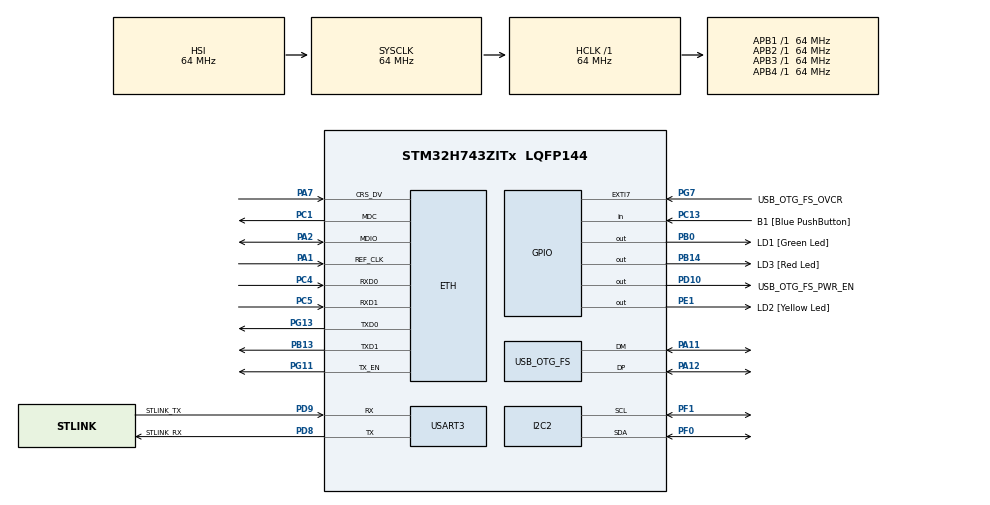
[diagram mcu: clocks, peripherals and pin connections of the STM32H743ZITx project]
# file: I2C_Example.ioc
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ETH.MediaInterface=HAL_ETH_RMII_MODE
Mcu.Family=STM32H7
Mcu.Name=STM32H743ZITx
Mcu.Package=LQFP144
NVIC.PriorityGroup=NVIC_PRIORITYGROUP_4
PA1.Mode=RMII
PA1.Signal=ETH_REF_CLK
PA11.Mode=Device_Only
PA11.Signal=USB_OTG_FS_DM
PA12.Mode=Device_Only
PA12.Signal=USB_OTG_FS_DP
PA2.Mode=RMII
PA2.Signal=ETH_MDIO
PA7.Mode=RMII
PA7.Signal=ETH_CRS_DV
PA8.Signal=USB_OTG_FS_SOF
PA9.Signal=USB_OTG_FS_VBUS
PB0.GPIO_Label=LD1 [Green Led]
PB0.Signal=GPIO_Output
PB13.Mode=RMII
PB13.Signal=ETH_TXD1
PB14.GPIO_Label=LD3 [Red Led]
PB14.Signal=GPIO_Output
PC1.Mode=RMII
PC1.Signal=ETH_MDC
PC13.GPIO_Label=B1 [Blue PushButton]
PC13.Signal=GPIO_Input
PC14-OSC32_IN\ (OSC32_IN).Mode=LSE-External-Oscillator
PC14-OSC32_IN\ (OSC32_IN).Signal=RCC_OSC32_IN
PC15-OSC32_OUT\ (OSC32_OUT).Mode=LSE-External-Oscillator
PC15-OSC32_OUT\ (OSC32_OUT).Signal=RCC_OSC32_OUT
PC4.Mode=RMII
PC4.Signal=ETH_RXD0
PC5.Mode=RMII
PC5.Signal=ETH_RXD1
PD10.GPIO_Label=USB_OTG_FS_PWR_EN
PD10.Signal=GPIO_Output
PD8.GPIO_Label=STLINK_RX
PD8.Mode=Asynchronous
PD8.Signal=USART3_TX
PD9.GPIO_Label=STLINK_TX
PD9.Mode=Asynchronous
PD9.Signal=USART3_RX
PE1.GPIO_Label=LD2 [Yellow Led]
PE1.Signal=GPIO_Output
PF0.Mode=I2C
PF0.Signal=I2C2_SDA
PF1.Mode=I2C
PF1.Signal=I2C2_SCL
PG11.Mode=RMII
PG11.Signal=ETH_TX_EN
PG13.Mode=RMII
PG13.Signal=ETH_TXD0
PG7.GPIO_Label=USB_OTG_FS_OVCR
PG7.Signal=GPXTI7
PH0-OSC_IN\ (PH0).Mode=HSE-External-Clock-Source
PH0-OSC_IN\ (PH0).Signal=RCC_OSC_IN
PH1-OSC_OUT\ (PH1).Signal=RCC_OSC_OUT
ProjectManager.HeapSize=0x200
ProjectManager.StackSize=0x400
ProjectManager.TargetToolchain=STM32CubeIDE
RCC.ADCFreq_Value=16125000
RCC.APB1Freq_Value=64000000
RCC.APB2Freq_Value=64000000
RCC.APB3Freq_Value=64000000
RCC.APB4Freq_Value=64000000
RCC.CortexFreq_Value=64000000
RCC.DIVM1=1
RCC.DIVN1=24
RCC.DIVQ1=4
RCC.HCLKFreq_Value=64000000
RCC.HSE_VALUE=8000000
RCC.PLLFRACN=0
RCC.PLLSourceVirtual=RCC_PLLSOURCE_HSE
RCC.PWR_Regulator_Voltage_Scale=PWR_REGULATOR_VOLTAGE_SCALE2
RCC.SYSCLKFreq_VALUE=64000000
RCC.USBFreq_Value=48000000
USART3.VirtualMode-Asynchronous=VM_ASYNC
USB_OTG_FS.VirtualMode=Device_Only
board=NUCLEO-H743ZI2

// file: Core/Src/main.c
/* USER CODE BEGIN Header */
/**
  ******************************************************************************
  * @file           : main.c
  * @brief          : I2C Demo: Communicate with Yong Da's DS1307 RTC
  * @details		: Useful resources: https://forum.digikey.com/t/using-the-stm32cube-hal-i2c-driver-in-master-mode/15122
  * and https://datasheets.maximintegrated.com/en/ds/DS1307.pdf https://www.digikey.ca/en/maker/projects/getting-started-with-stm32-i2c-example/ba8c2bfef2024654b5dd10012425fa23
  ******************************************************************************
  * @attention
  *
  * <h2><center>&copy; Copyright (c) 2021 STMicroelectronics.
  * All rights reserved.</center></h2>
  *
  * This software component is licensed by ST under BSD 3-Clause license,
  * the "License"; You may not use this file except in compliance with the
  * License. You may obtain a copy of the License at:
  *                        opensource.org/licenses/BSD-3-Clause
  *
  ******************************************************************************
  */
/* USER CODE END Header */
#include "main.h"
#include "string.h"

/* USER CODE BEGIN Includes */
#include <stdio.h>
/* USER CODE END Includes */

#if defined ( __ICCARM__ ) /*!< IAR Compiler */

#pragma location=0x30040000
ETH_DMADescTypeDef  DMARxDscrTab[ETH_RX_DESC_CNT]; /* Ethernet Rx DMA Descriptors */
#pragma location=0x30040060
ETH_DMADescTypeDef  DMATxDscrTab[ETH_TX_DESC_CNT]; /* Ethernet Tx DMA Descriptors */
#pragma location=0x30040200
uint8_t Rx_Buff[ETH_RX_DESC_CNT][ETH_MAX_PACKET_SIZE]; /* Ethernet Receive Buffers */

#elif defined ( __CC_ARM )  /* MDK ARM Compiler */

__attribute__((at(0x30040000))) ETH_DMADescTypeDef  DMARxDscrTab[ETH_RX_DESC_CNT]; /* Ethernet Rx DMA Descriptors */
__attribute__((at(0x30040060))) ETH_DMADescTypeDef  DMATxDscrTab[ETH_TX_DESC_CNT]; /* Ethernet Tx DMA Descriptors */
__attribute__((at(0x30040200))) uint8_t Rx_Buff[ETH_RX_DESC_CNT][ETH_MAX_PACKET_SIZE]; /* Ethernet Receive Buffer */

#elif defined ( __GNUC__ ) /* GNU Compiler */

ETH_DMADescTypeDef DMARxDscrTab[ETH_RX_DESC_CNT] __attribute__((section(".RxDecripSection"))); /* Ethernet Rx DMA Descriptors */
ETH_DMADescTypeDef DMATxDscrTab[ETH_TX_DESC_CNT] __attribute__((section(".TxDecripSection")));   /* Ethernet Tx DMA Descriptors */
uint8_t Rx_Buff[ETH_RX_DESC_CNT][ETH_MAX_PACKET_SIZE] __attribute__((section(".RxArraySection"))); /* Ethernet Receive Buffers */

#endif

ETH_TxPacketConfig TxConfig;

ETH_HandleTypeDef heth;

I2C_HandleTypeDef hi2c2;

UART_HandleTypeDef huart3;

PCD_HandleTypeDef hpcd_USB_OTG_FS;

/* USER CODE BEGIN PV */
static const uint8_t DS1307_ADDR = 0x68 << 1; // Use 7-bit address and 1 bit direction
static const uint8_t REG_SEC = 0x00;	//8-bit register addresses
/* USER CODE END PV */

void SystemClock_Config(void);
static void MX_GPIO_Init(void);
static void MX_ETH_Init(void);
static void MX_USART3_UART_Init(void);
static void MX_USB_OTG_FS_PCD_Init(void);
static void MX_I2C2_Init(void);
/* USER CODE BEGIN PFP */
#ifdef __GNUC__
/* With GCC, small printf (option LD Linker->Libraries->Small printf
   set to 'Yes') calls __io_putchar() */
#define PUTCHAR_PROTOTYPE int __io_putchar(int ch)
#define GETCHAR_PROTOTYPE int __io_getchar()
#else
#define PUTCHAR_PROTOTYPE int fputc(int ch, FILE *f)
#endif /* __GNUC__ */
/* USER CODE END PFP */

/* USER CODE BEGIN 0 */
int BcdToInt(uint8_t num){
	return (num >> 4) * 10 + (num & 15);
}
/* USER CODE END 0 */

int main(void)
{
  /* USER CODE BEGIN 1 */
	HAL_StatusTypeDef ret;
	uint8_t buf[9];
	char day[10];
  /* USER CODE END 1 */

  /* MCU Configuration--------------------------------------------------------*/

  /* Reset of all peripherals, Initializes the Flash interface and the Systick. */
  HAL_Init();

  /* Configure the system clock */
  SystemClock_Config();

  /* Initialize all configured peripherals */
  MX_GPIO_Init();
  MX_ETH_Init();
  MX_USART3_UART_Init();
  MX_USB_OTG_FS_PCD_Init();
  MX_I2C2_Init();

  /* Infinite loop */
  /* USER CODE BEGIN WHILE */

  // First, we need to initialize the time registers to a time
  // The DS1307 uses BCD format
  buf[0] = 0x00; // seconds register
  buf[1] = 0x00; // 0 seconds and turn on oscillator (set CH bit to 0)
  buf[2] = 0x00; // 0 minutes
  buf[3] = 0x00; // 0 minutes and 24h format
  buf[4] = 0x02; // Monday
  buf[5] = 0x25; // 25th
  buf[6] = 0x10; // October
  buf[7] = 0x21; // 2021
  buf[8] = 0x00; // don't need square wave output

  // Reset reg pointer to seconds register and send initial values
  ret = HAL_I2C_Master_Transmit(&hi2c2, DS1307_ADDR, buf, 9, HAL_MAX_DELAY);
  if ( ret != HAL_OK ) {
	  printf("Error Tx\r\n");
  }

  while (1)
  {
	  // Reset reg pointer to seconds register
	  ret = HAL_I2C_Master_Transmit(&hi2c2, DS1307_ADDR, (uint8_t *const)&REG_SEC, 1, HAL_MAX_DELAY);
	  if ( ret != HAL_OK ) {
		  printf("Error Tx\r\n");
	  } else {
		  // After all our hard work initializing the registers, read the date and time
		  ret = HAL_I2C_Master_Receive(&hi2c2, DS1307_ADDR, buf, 8, HAL_MAX_DELAY);
		  if ( ret != HAL_OK ) {
		  		  printf("Error Tx\r\n");
		  } else {
			  switch(buf[3]){
			  case 1:
				  strcpy(day, "Sunday");
			  	  break;
			  case 2:
				  strcpy(day, "Monday");
				  break;
			  case 3:
				  strcpy(day, "Tuesday");
			  	  break;
			  case 4:
				  strcpy(day, "Wednesday");
				  break;
			  case 5:
				  strcpy(day, "Thursday");
				  break;
			  case 6:
				  strcpy(day, "Friday");
				  break;
			  case 7:
				  strcpy(day, "Saturday");
				  break;
			  default:
				  strcpy(day, "Error");
				  break;
			  }

			  printf("%s, %d/%d/%d", day, BcdToInt(buf[4]), BcdToInt(buf[5]), BcdToInt(buf[6]));
			  printf(" %d:%d:%d\r\n", BcdToInt(buf[2]), BcdToInt(buf[1]), BcdToInt(buf[0] & 0x7f));
		  }
	  }
	// Wait
	HAL_Delay(1000);
  }
    /* USER CODE END WHILE */

}

void SystemClock_Config(void)
{
  RCC_OscInitTypeDef RCC_OscInitStruct = {0};
  RCC_ClkInitTypeDef RCC_ClkInitStruct = {0};

  /** Supply configuration update enable
  */
  HAL_PWREx_ConfigSupply(PWR_LDO_SUPPLY);
  /** Configure the main internal regulator output voltage
  */
  __HAL_PWR_VOLTAGESCALING_CONFIG(PWR_REGULATOR_VOLTAGE_SCALE2);

  while(!__HAL_PWR_GET_FLAG(PWR_FLAG_VOSRDY)) {}
  /** Initializes the RCC Oscillators according to the specified parameters
  * in the RCC_OscInitTypeDef structure.
  */
  RCC_OscInitStruct.OscillatorType = RCC_OSCILLATORTYPE_HSI|RCC_OSCILLATORTYPE_HSE;
  RCC_OscInitStruct.HSEState = RCC_HSE_BYPASS;
  RCC_OscInitStruct.HSIState = RCC_HSI_DIV1;
  RCC_OscInitStruct.HSICalibrationValue = RCC_HSICALIBRATION_DEFAULT;
  RCC_OscInitStruct.PLL.PLLState = RCC_PLL_ON;
  RCC_OscInitStruct.PLL.PLLSource = RCC_PLLSOURCE_HSE;
  RCC_OscInitStruct.PLL.PLLM = 1;
  RCC_OscInitStruct.PLL.PLLN = 24;
  RCC_OscInitStruct.PLL.PLLP = 2;
  RCC_OscInitStruct.PLL.PLLQ = 4;
  RCC_OscInitStruct.PLL.PLLR = 2;
  RCC_OscInitStruct.PLL.PLLRGE = RCC_PLL1VCIRANGE_3;
  RCC_OscInitStruct.PLL.PLLVCOSEL = RCC_PLL1VCOWIDE;
  RCC_OscInitStruct.PLL.PLLFRACN = 0;
  if (HAL_RCC_OscConfig(&RCC_OscInitStruct) != HAL_OK)
  {
    Error_Handler();
  }
  /** Initializes the CPU, AHB and APB buses clocks
  */
  RCC_ClkInitStruct.ClockType = RCC_CLOCKTYPE_HCLK|RCC_CLOCKTYPE_SYSCLK
                              |RCC_CLOCKTYPE_PCLK1|RCC_CLOCKTYPE_PCLK2
                              |RCC_CLOCKTYPE_D3PCLK1|RCC_CLOCKTYPE_D1PCLK1;
  RCC_ClkInitStruct.SYSCLKSource = RCC_SYSCLKSOURCE_HSI;
  RCC_ClkInitStruct.SYSCLKDivider = RCC_SYSCLK_DIV1;
  RCC_ClkInitStruct.AHBCLKDivider = RCC_HCLK_DIV1;
  RCC_ClkInitStruct.APB3CLKDivider = RCC_APB3_DIV1;
  RCC_ClkInitStruct.APB1CLKDivider = RCC_APB1_DIV1;
  RCC_ClkInitStruct.APB2CLKDivider = RCC_APB2_DIV1;
  RCC_ClkInitStruct.APB4CLKDivider = RCC_APB4_DIV1;

  if (HAL_RCC_ClockConfig(&RCC_ClkInitStruct, FLASH_LATENCY_1) != HAL_OK)
  {
    Error_Handler();
  }
}

static void MX_ETH_Init(void)
{

   static uint8_t MACAddr[6];

  heth.Instance = ETH;
  MACAddr[0] = 0x00;
  MACAddr[1] = 0x80;
  MACAddr[2] = 0xE1;
  MACAddr[3] = 0x00;
  MACAddr[4] = 0x00;
  MACAddr[5] = 0x00;
  heth.Init.MACAddr = &MACAddr[0];
  heth.Init.MediaInterface = HAL_ETH_RMII_MODE;
  heth.Init.TxDesc = DMATxDscrTab;
  heth.Init.RxDesc = DMARxDscrTab;
  heth.Init.RxBuffLen = 1524;

  if (HAL_ETH_Init(&heth) != HAL_OK)
  {
    Error_Handler();
  }

  memset(&TxConfig, 0 , sizeof(ETH_TxPacketConfig));
  TxConfig.Attributes = ETH_TX_PACKETS_FEATURES_CSUM | ETH_TX_PACKETS_FEATURES_CRCPAD;
  TxConfig.ChecksumCtrl = ETH_CHECKSUM_IPHDR_PAYLOAD_INSERT_PHDR_CALC;
  TxConfig.CRCPadCtrl = ETH_CRC_PAD_INSERT;

}

static void MX_I2C2_Init(void)
{

  hi2c2.Instance = I2C2;
  hi2c2.Init.Timing = 0x10707DBC;
  hi2c2.Init.OwnAddress1 = 0;
  hi2c2.Init.AddressingMode = I2C_ADDRESSINGMODE_7BIT;
  hi2c2.Init.DualAddressMode = I2C_DUALADDRESS_DISABLE;
  hi2c2.Init.OwnAddress2 = 0;
  hi2c2.Init.OwnAddress2Masks = I2C_OA2_NOMASK;
  hi2c2.Init.GeneralCallMode = I2C_GENERALCALL_DISABLE;
  hi2c2.Init.NoStretchMode = I2C_NOSTRETCH_DISABLE;
  if (HAL_I2C_Init(&hi2c2) != HAL_OK)
  {
    Error_Handler();
  }
  /** Configure Analogue filter
  */
  if (HAL_I2CEx_ConfigAnalogFilter(&hi2c2, I2C_ANALOGFILTER_ENABLE) != HAL_OK)
  {
    Error_Handler();
  }
  /** Configure Digital filter
  */
  if (HAL_I2CEx_ConfigDigitalFilter(&hi2c2, 0) != HAL_OK)
  {
    Error_Handler();
  }

}

static void MX_USART3_UART_Init(void)
{

  huart3.Instance = USART3;
  huart3.Init.BaudRate = 115200;
  huart3.Init.WordLength = UART_WORDLENGTH_8B;
  huart3.Init.StopBits = UART_STOPBITS_1;
  huart3.Init.Parity = UART_PARITY_NONE;
  huart3.Init.Mode = UART_MODE_TX_RX;
  huart3.Init.HwFlowCtl = UART_HWCONTROL_NONE;
  huart3.Init.OverSampling = UART_OVERSAMPLING_16;
  huart3.Init.OneBitSampling = UART_ONE_BIT_SAMPLE_DISABLE;
  huart3.Init.ClockPrescaler = UART_PRESCALER_DIV1;
  huart3.AdvancedInit.AdvFeatureInit = UART_ADVFEATURE_NO_INIT;
  if (HAL_UART_Init(&huart3) != HAL_OK)
  {
    Error_Handler();
  }
  if (HAL_UARTEx_SetTxFifoThreshold(&huart3, UART_TXFIFO_THRESHOLD_1_8) != HAL_OK)
  {
    Error_Handler();
  }
  if (HAL_UARTEx_SetRxFifoThreshold(&huart3, UART_RXFIFO_THRESHOLD_1_8) != HAL_OK)
  {
    Error_Handler();
  }
  if (HAL_UARTEx_DisableFifoMode(&huart3) != HAL_OK)
  {
    Error_Handler();
  }

}

static void MX_USB_OTG_FS_PCD_Init(void)
{

  hpcd_USB_OTG_FS.Instance = USB_OTG_FS;
  hpcd_USB_OTG_FS.Init.dev_endpoints = 9;
  hpcd_USB_OTG_FS.Init.speed = PCD_SPEED_FULL;
  hpcd_USB_OTG_FS.Init.dma_enable = DISABLE;
  hpcd_USB_OTG_FS.Init.phy_itface = PCD_PHY_EMBEDDED;
  hpcd_USB_OTG_FS.Init.Sof_enable = DISABLE;
  hpcd_USB_OTG_FS.Init.low_power_enable = DISABLE;
  hpcd_USB_OTG_FS.Init.lpm_enable = DISABLE;
  hpcd_USB_OTG_FS.Init.battery_charging_enable = DISABLE;
  hpcd_USB_OTG_FS.Init.vbus_sensing_enable = DISABLE;
  hpcd_USB_OTG_FS.Init.use_dedicated_ep1 = DISABLE;
  if (HAL_PCD_Init(&hpcd_USB_OTG_FS) != HAL_OK)
  {
    Error_Handler();
  }

}

static void MX_GPIO_Init(void)
{
  GPIO_InitTypeDef GPIO_InitStruct = {0};

  /* GPIO Ports Clock Enable */
  __HAL_RCC_GPIOC_CLK_ENABLE();
  __HAL_RCC_GPIOF_CLK_ENABLE();
  __HAL_RCC_GPIOH_CLK_ENABLE();
  __HAL_RCC_GPIOA_CLK_ENABLE();
  __HAL_RCC_GPIOB_CLK_ENABLE();
  __HAL_RCC_GPIOD_CLK_ENABLE();
  __HAL_RCC_GPIOG_CLK_ENABLE();
  __HAL_RCC_GPIOE_CLK_ENABLE();

  /*Configure GPIO pin Output Level */
  HAL_GPIO_WritePin(GPIOB, LD1_Pin|LD3_Pin, GPIO_PIN_RESET);

  /*Configure GPIO pin Output Level */
  HAL_GPIO_WritePin(USB_OTG_FS_PWR_EN_GPIO_Port, USB_OTG_FS_PWR_EN_Pin, GPIO_PIN_RESET);

  /*Configure GPIO pin Output Level */
  HAL_GPIO_WritePin(LD2_GPIO_Port, LD2_Pin, GPIO_PIN_RESET);

  /*Configure GPIO pin : B1_Pin */
  GPIO_InitStruct.Pin = B1_Pin;
  GPIO_InitStruct.Mode = GPIO_MODE_INPUT;
  GPIO_InitStruct.Pull = GPIO_NOPULL;
  HAL_GPIO_Init(B1_GPIO_Port, &GPIO_InitStruct);

  /*Configure GPIO pins : LD1_Pin LD3_Pin */
  GPIO_InitStruct.Pin = LD1_Pin|LD3_Pin;
  GPIO_InitStruct.Mode = GPIO_MODE_OUTPUT_PP;
  GPIO_InitStruct.Pull = GPIO_NOPULL;
  GPIO_InitStruct.Speed = GPIO_SPEED_FREQ_LOW;
  HAL_GPIO_Init(GPIOB, &GPIO_InitStruct);

  /*Configure GPIO pin : USB_OTG_FS_PWR_EN_Pin */
  GPIO_InitStruct.Pin = USB_OTG_FS_PWR_EN_Pin;
  GPIO_InitStruct.Mode = GPIO_MODE_OUTPUT_PP;
  GPIO_InitStruct.Pull = GPIO_NOPULL;
  GPIO_InitStruct.Speed = GPIO_SPEED_FREQ_LOW;
  HAL_GPIO_Init(USB_OTG_FS_PWR_EN_GPIO_Port, &GPIO_InitStruct);

  /*Configure GPIO pin : USB_OTG_FS_OVCR_Pin */
  GPIO_InitStruct.Pin = USB_OTG_FS_OVCR_Pin;
  GPIO_InitStruct.Mode = GPIO_MODE_IT_RISING;
  GPIO_InitStruct.Pull = GPIO_NOPULL;
  HAL_GPIO_Init(USB_OTG_FS_OVCR_GPIO_Port, &GPIO_InitStruct);

  /*Configure GPIO pin : LD2_Pin */
  GPIO_InitStruct.Pin = LD2_Pin;
  GPIO_InitStruct.Mode = GPIO_MODE_OUTPUT_PP;
  GPIO_InitStruct.Pull = GPIO_NOPULL;
  GPIO_InitStruct.Speed = GPIO_SPEED_FREQ_LOW;
  HAL_GPIO_Init(LD2_GPIO_Port, &GPIO_InitStruct);

}

/* USER CODE BEGIN 4 */
/**
  * @brief  Retargets the C library printf and scanf functions to the UART.
  * @param  None
  * @retval None
  */
PUTCHAR_PROTOTYPE
{
  /* Place your implementation of fputc here */
  /* e.g. write a character to the USART3 and Loop until the end of transmission */
  HAL_UART_Transmit(&huart3, (uint8_t *)&ch, 1, 0xFFFF);

  return ch;
}

GETCHAR_PROTOTYPE
{
	uint8_t ch;

	HAL_UART_Receive(&huart3, &ch, 1, 0xFFFF);

	return ch;
}
/* USER CODE END 4 */

void Error_Handler(void)
{
  __disable_irq();
  while (1)
  {
  }
}

/************************ (C) COPYRIGHT STMicroelectronics *****END OF FILE****/
